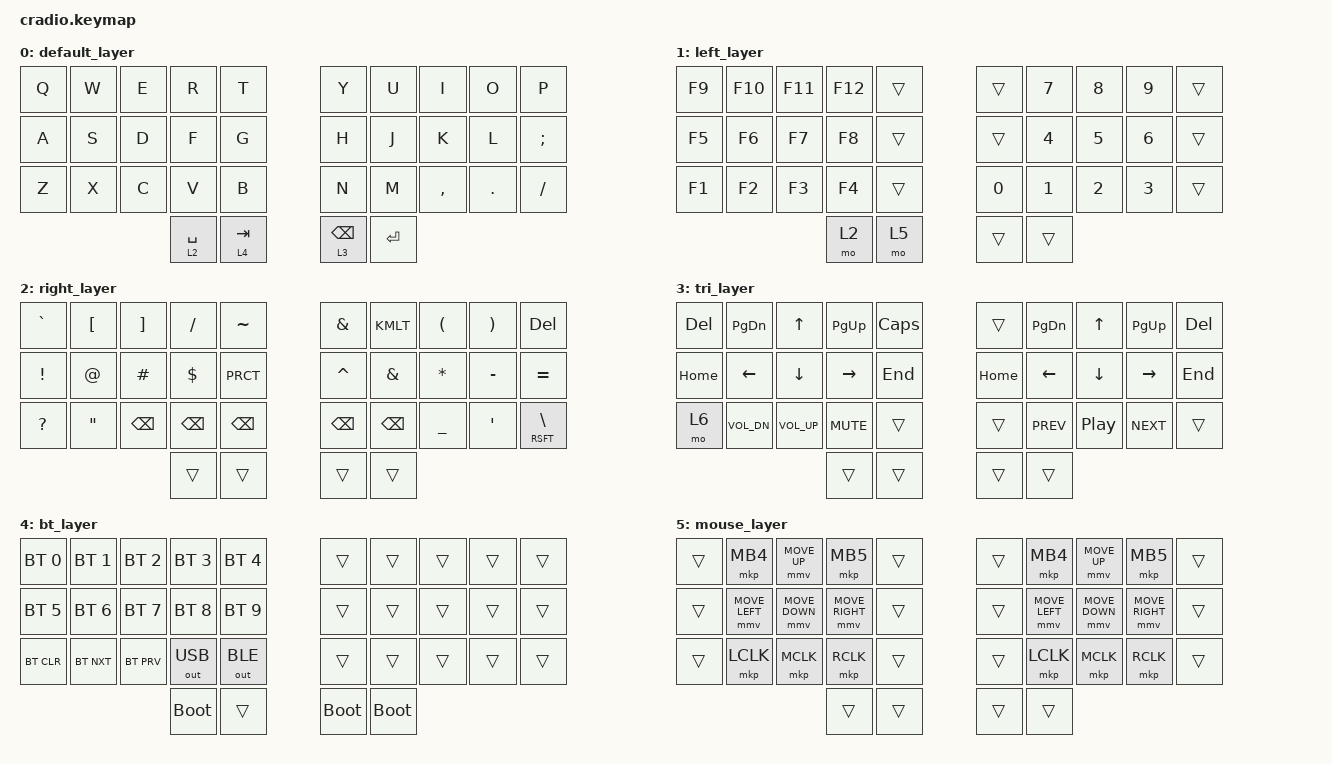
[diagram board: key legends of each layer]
/*
 * Copyright (c) 2020 The ZMK Contributors
 *
 * SPDX-License-Identifier: MIT
 */

#include <behaviors.dtsi>
#include <dt-bindings/zmk/keys.h>
#include <dt-bindings/zmk/bt.h>
#include <dt-bindings/zmk/outputs.h>
#include <dt-bindings/zmk/mouse.h>
#include <test.dtsi>



&mt {
    flavor = "hold-preferred";
   // tapping_term_ms = <200>;
};

&lt {
    flavor = "balanced";
};

&caps_word {
    continue-list = <UNDERSCORE MINUS BACKSPACE DELETE>;
};

&sk {
    quick-release;
};

/ { 

    combos {
        compatible = "zmk,combos";
	combo_mouse_1 {
	    timeout-ms = <80>;
	    key-positions = <28 29>;
	    bindings = <&mkp LCLK>;
	};
	combo_ctl_s {
	    timeout-ms = <80>;
	    key-positions = <20 31>;
	    bindings = <&kp LC(S)>;
	};
	combo_ctl_w {
	    timeout-ms = <80>;
	    key-positions = <10 31>;
	    bindings = <&kp LC(W)>;
	};
	/*
	combo_dataloader {
	    timeout-ms = <80>;
	    key-positions = <10 12 18 3>;
	    bindings = <&dataloader_macro>;
	};
	combo_config {
	    timeout-ms = <80>;
	    key-positions = <7 8 23 26>;
	    bindings = <&config_macro>;
	};
	combo_the {
	    timeout-ms = <80>;
	    key-positions = <2 4 15>;
	    bindings = <&the_macro>;
	};
	combo_accessor {
	    timeout-ms = <80>;
	    key-positions = <10 11 23>;
	    bindings = <&accessor_macro>;
	};
	*/

        combo_capsword {
            timeout-ms = <50>;
            key-positions = <4 31>;
            bindings = <&caps_word>;
	};
 
        combo_esc {
            timeout-ms = <50>;
            key-positions = <12 13>;
            bindings = <&kp ESC>;
	    slow-release;
        };
        
           combo_ent {
            timeout-ms = <50>;
            key-positions = <13 24>;
            bindings = <&kp RET>;
	    slow-release;
        };

           combo_bksp {
            timeout-ms = <50>;
            key-positions = <10 20>;
            bindings = <&kp BKSP>;
	    slow-release;
        };

           combo_lalt {
            timeout-ms = <50>;
            key-positions = <1 12>;
            bindings = <&kp LALT>;
	    slow-release;
        };

           combo_lgui {
            timeout-ms = <50>;
            key-positions = <1 13>;
            bindings = <&kp LGUI>;
	    slow-release;
        };

           combo_lctl {
            timeout-ms = <50>;
            key-positions = <2 13>;
            bindings = <&kp LCTRL>;
	    slow-release;
        };

           combo_ralt {
            timeout-ms = <50>;
            key-positions = <8 17>;
            bindings = <&kp RALT>;
	    slow-release;
        };

           combo_rgui {
            timeout-ms = <50>;
            key-positions = <8 16>;
            bindings = <&kp RGUI>;
	    slow-release;
        };

           combo_rctl {
            timeout-ms = <50>;
            key-positions = <7 16>;
            bindings = <&kp RCTRL>;
	    slow-release;
        };

           combo_gallium {
            timeout-ms = <50>;
            key-positions = <5 25>;
            bindings = <&tog 1>;
	    slow-release;
        };
	combo_laltgui {
            timeout-ms = <50>;
            key-positions = <11 2 3>;
            bindings = <&kp LA(LGUI)>;
            slow-release;
        };
	combo_laltctl {
            timeout-ms = <50>;
            key-positions = <1 12 3>;
            bindings = <&kp LA(LCTL)>;
            slow-release;
        };
	combo_lguictl {
            timeout-ms = <50>;
            key-positions = <1 2 13>;
            bindings = <&kp LG(LCTL)>;
	    slow-release;
	};
	combo_raltgui {
	    timeout-ms = <50>;
	    key-positions = <6 7 18>;
	    bindings = <&kp RA(RGUI)>;
	    slow-release;
	};
	combo_raltctl {
	    timeout-ms = <50>;
	    key-positions = <6 17 8>;
	    bindings = <&kp RA(RCTL)>;
	    slow-release;
	};
	combo_rguictl {
	    timeout-ms = <50>;
	    key-positions = <16 7 8>;
	    bindings = <&kp RG(RCTL)>;
	    slow-release;
	};

			// home row combos

		// left side

           combo_lhome_alt {
            timeout-ms = <50>;
            key-positions = <31 13>;
            bindings = <&kp LALT>;
	    slow-release;
        };

           combo_lhome_altgui {
            timeout-ms = <50>;
            key-positions = <31 12 13>;
            bindings = <&kp LA(LGUI)>;
	    slow-release;
        };

           combo_lhome_altctl {
            timeout-ms = <50>;
            key-positions = <31 11 13>;
            bindings = <&kp LA(LCTL)>;
	    slow-release;
        };

           combo_lhome_altguictl {
            timeout-ms = <50>;
            key-positions = <31 11 12 13>;
            bindings = <&kp LA(LG(LCTRL))>;
	    slow-release;
        };
        
           combo_lhome_gui {
            timeout-ms = <50>;
            key-positions = <31 12>;
            bindings = <&kp LGUI>;
	    slow-release;
        };
        
           combo_lhome_guictl {
            timeout-ms = <50>;
            key-positions = <31 11 12>;
            bindings = <&kp LG(LCTRL)>;
	    slow-release;
        };
        
           combo_lhome_ctl {
            timeout-ms = <50>;
            key-positions = <31 11>;
            bindings = <&kp LCTRL>;
	    slow-release;
        };

		// right side

           combo_rhome_alt {
            timeout-ms = <50>;
            key-positions = <32 16>;
            bindings = <&kp RALT>;
	    slow-release;
        };

           combo_rhome_altgui {
            timeout-ms = <50>;
            key-positions = <32 17 16>;
            bindings = <&kp RA(RGUI)>;
	    slow-release;
        };

           combo_rhome_altctl {
            timeout-ms = <50>;
            key-positions = <32 18 16>;
            bindings = <&kp RA(RCTL)>;
	    slow-release;
        };

           combo_rhome_altguictl {
            timeout-ms = <50>;
            key-positions = <32 18 17 16>;
            bindings = <&kp RA(RG(RCTRL))>;
	    slow-release;
        };
        
           combo_rhome_gui {
            timeout-ms = <50>;
            key-positions = <32 17>;
            bindings = <&kp RGUI>;
	    slow-release;
        };
        
           combo_rhome_guictl {
            timeout-ms = <50>;
            key-positions = <32 18 17>;
            bindings = <&kp RG(RCTRL)>;
	    slow-release;
        };
        
           combo_rhome_ctl {
            timeout-ms = <50>;
            key-positions = <32 18>;
            bindings = <&kp RCTRL>;
	    slow-release;
        };

	   combo_hyper_lt {
		   timeout-ms = <30>;
		   key-positions = <31 0>;
		   bindings = <&kp LC(LG(LALT))>;
		   slow-release;
	   };

	   combo_hyper_rt {
		   timeout-ms = <30>;
		   key-positions = <32 9>;
		   bindings = <&kp LC(LG(LALT))>;
		   slow-release;
	   };

	   combo_hyper_l {
		   timeout-ms = <30>;
		   key-positions = <21 22>;
		   bindings = <&kp LC(LG(LALT))>;
		   slow-release;
	   };

	   combo_hyper_r {
		   timeout-ms = <30>;
		   key-positions = <27 28>;
		   bindings = <&kp LC(LG(LALT))>;
		   slow-release;
	   };

        
    };

        keymap {
                compatible = "zmk,keymap";
                
       		default_layer {
		bindings = <
		&kp Q &kp W &kp E &kp R &kp T 					&kp Y 	&kp U  	&kp I   &kp O   &kp P 
		&kp A &kp S &kp D &kp F &kp G 			       	&kp H 	&kp J 	&kp K 	&kp L 	&kp SCLN
		&kp Z &kp X &kp C &kp V	&kp B				    &kp N   &kp M   &kp CMMA &kp DOT &kp SLASH
          				&lt 2 SPC &lt 4 TAB  				&lt 3 BKSP &kp RET 
		>;
		};

       		left_layer {
		bindings = <
		&kp F9    &kp F10    &kp F11    &kp F12    &trans		&trans     &kp N7  &kp N8   &kp N9   &trans 
		&kp F5    &kp F6     &kp F7     &kp F8     &trans		&trans     &kp N4  &kp N5   &kp N6   &trans 
		&kp F1   &kp F2      &kp F3     &kp F4     &trans   	&kp N0     &kp N1  &kp N2   &kp N3   &trans
					     			&mo 2  &mo 5  					&trans &trans 
		>;
		};
		
		right_layer {
		bindings = <
		&kp GRAVE  &kp LBKT &kp RBKT  &kp FSLH  &kp TILDE    			&kp AMPS  &kp KMLT &kp LPRN &kp RPRN &kp DEL
		&kp EXCL  &kp AT  &kp HASH  &kp DLLR  &kp PRCT 			&kp CARET &kp AMPS  &kp STAR  &kp MINUS   &kp EQUAL
		&kp QMARK  &kp DQT &kp BKSP &kp BKSP   &kp BKSP    			&kp BKSP &kp BKSP &kp UNDER &kp SQT  &mt RSFT BSLH
					  &trans &trans  				&trans &trans 
		>;
		};	
		
		tri_layer {
		bindings = <
		&kp DEL  &kp PG_DN   &kp UP   &kp PG_UP &kp CAPS			&trans &kp PG_DN   &kp UP   &kp PG_UP  &kp DEL
		&kp HOME &kp LEFT  &kp DOWN &kp RIGHT &kp END					&kp HOME &kp LEFT  &kp DOWN &kp RIGHT &kp END 
		&mo 6  &kp K_VOL_DN  &kp K_VOL_UP &kp K_MUTE &trans   				&trans &kp C_PREV &kp C_PP &kp C_NEXT &trans   
					 &trans &trans  				&trans &trans 
		>;
		};	
        
		bt_layer {
		bindings = <
		&bt BT_SEL 0 &bt BT_SEL 1 &bt BT_SEL 2 &bt BT_SEL 3 &bt BT_SEL 4        &trans &trans &trans &trans &trans
		&bt BT_SEL 5 &bt BT_SEL 6 &bt BT_SEL 7 &bt BT_SEL 8 &bt BT_SEL 9        &trans &trans &trans &trans &trans
		&bt BT_CLR  &bt BT_NXT &bt BT_PRV &out OUT_USB &out OUT_BLE 	       	&trans &trans &trans &trans &trans
          				&bootloader &trans  				&bootloader &bootloader
		>;
		};	
		mouse_layer {
		bindings = <
		&trans &mkp MB4 &mmv MOVE_UP &mkp MB5 &trans        		&trans &mkp MB4 &mmv MOVE_UP &mkp MB5 &trans
		&trans &mmv MOVE_LEFT &mmv MOVE_DOWN &mmv MOVE_RIGHT &trans     &trans &mmv MOVE_LEFT &mmv MOVE_DOWN &mmv MOVE_RIGHT &trans
		&trans &mkp LCLK &mkp MCLK &mkp RCLK &trans        		&trans &mkp LCLK &mkp MCLK &mkp RCLK &trans
          				&trans &trans  				&trans &trans
		>;
		};	
        
	};
};
